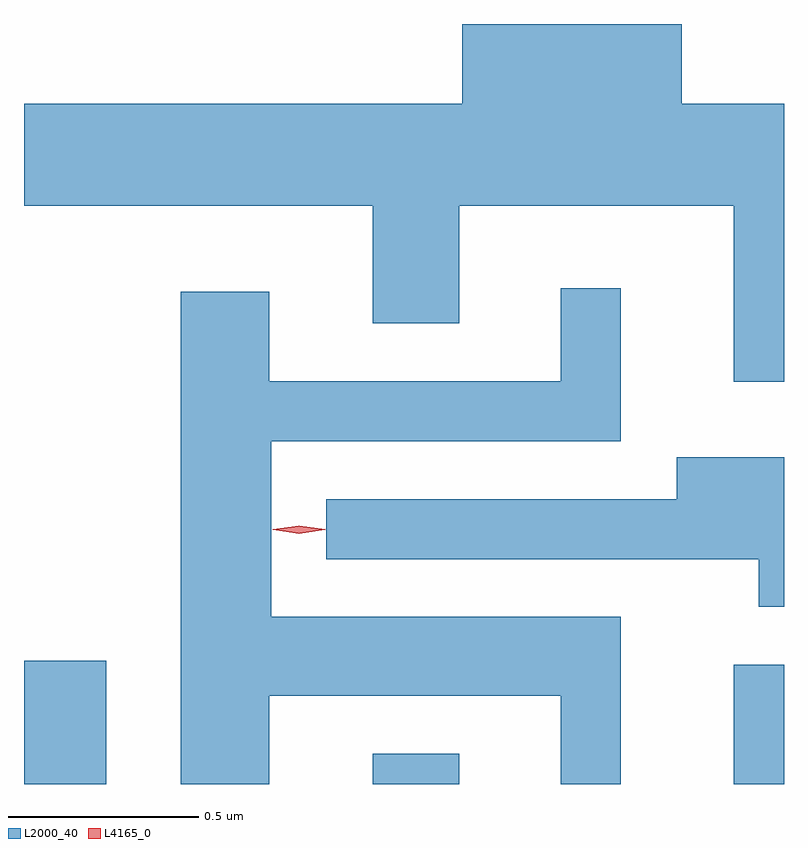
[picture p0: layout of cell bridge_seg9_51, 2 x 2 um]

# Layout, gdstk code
import gdstk
lib = gdstk.Library(unit=1e-6, precision=1e-09)
def R(c, l, rs):  # rectangles x0, y0, x1, y1
    for r in rs: c.add(gdstk.rectangle(r[:2], r[2:], *l))
def P(c, l, *ps):  # polygons
    for p in ps: c.add(gdstk.Polygon(p, *l))
L2000_40 = (2000, 40)
L4165_0 = (4165, 0)

bridge_seg9_51 = lib.new_cell('bridge_seg9_51')
R(bridge_seg9_51, L2000_40, [(1540.223,1999.174,1540.439,1999.499), (1541.141,1999.174,1541.369,1999.254), (1542.091,1999.174,1542.223,1999.488)])
P(bridge_seg9_51, L2000_40, [(1542.091,2000.233),(1542.223,2000.233),(1542.223,2000.964),(1541.954,2000.964),(1541.954,2001.174),(1541.376,2001.174),(1541.376,2000.964),(1540.223,2000.964),(1540.223,2000.696),(1541.141,2000.696),(1541.141,2000.386),(1541.369,2000.386),(1541.369,2000.696),(1542.091,2000.696)],
  [(1540.869,1999.406),(1541.636,1999.406),(1541.636,1999.174),(1541.794,1999.174),(1541.794,1999.614),(1540.874,1999.614),(1540.874,2000.076),(1541.794,2000.076),(1541.794,2000.478),(1541.636,2000.478),(1541.636,2000.234),(1540.869,2000.234),(1540.869,2000.469),(1540.636,2000.469),(1540.636,1999.174),(1540.869,1999.174)],
  [(1542.223,2000.034),(1541.941,2000.034),(1541.941,1999.924),(1541.018,1999.924),(1541.018,1999.766),(1542.156,1999.766),(1542.156,1999.641),(1542.223,1999.641)])
P(bridge_seg9_51, L4165_0, [(1540.946,1999.833),(1540.88,1999.843),(1540.88,1999.843),(1540.88,1999.844),(1540.946,1999.853),(1541.012,1999.844),(1541.013,1999.843),(1541.012,1999.843)],
  [(1540.947,1999.833),(1540.878,1999.843),(1540.877,1999.843),(1540.878,1999.844),(1540.947,1999.853),(1541.016,1999.844),(1541.016,1999.843),(1541.016,1999.843)])

lib.write_gds('bridge_seg9_51.gds')
